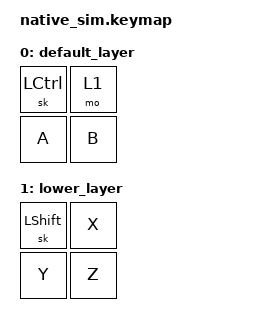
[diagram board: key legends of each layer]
#include <dt-bindings/zmk/keys.h>
#include <behaviors.dtsi>
#include <dt-bindings/zmk/input_mock.h>

/ {
    keymap {
        compatible = "zmk,keymap";

        default_layer {
            bindings = <
                &sk LEFT_CONTROL &mo 1
                &kp A &kp B>;
        };

        lower_layer {
            bindings = <
                &sk LEFT_SHIFT  &kp X
                &kp Y  &kp Z>;
        };
    };
};

&mock_input {
    events = <
        /* tap sk LEFT_CONTROL */
        ZMK_INPUT_MOCK_PRESS(0,0,10)
        ZMK_INPUT_MOCK_RELEASE(0,0,10)
        /* switch to lower layer */
        ZMK_INPUT_MOCK_PRESS(0,1,10)
        /* tap sk LEFT_SHIFT */
        ZMK_INPUT_MOCK_PRESS(0,0,10)
        ZMK_INPUT_MOCK_RELEASE(0,0,10)
        /* deactivate lower layer */
        ZMK_INPUT_MOCK_RELEASE(0,1,10)
        /* tap A */
        ZMK_INPUT_MOCK_PRESS(1,0,10)
        ZMK_INPUT_MOCK_RELEASE(1,0,10)
    >;
};
